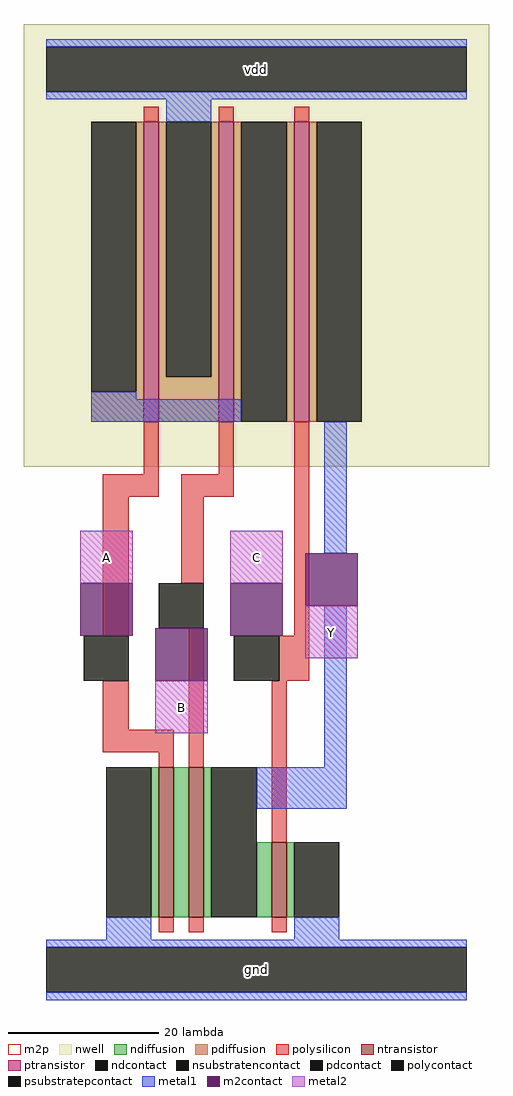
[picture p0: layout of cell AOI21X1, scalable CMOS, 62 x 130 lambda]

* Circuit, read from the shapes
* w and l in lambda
.subckt AOI21X1 A B C Y vdd gnd
M1 n1 A gnd gnd nfet w=20 l=2
M2 Y B n1 gnd nfet w=20 l=2
M3 gnd C Y gnd nfet w=10 l=2
M4 vdd A n2 vdd pfet w=40 l=2
M5 n2 B vdd vdd pfet w=40 l=2
M6 Y C n2 vdd pfet w=40 l=2
.ends

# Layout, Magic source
magic
tech scmos
magscale 1 2
<< nwell >>
rect -12 134 112 252
<< ntransistor >>
rect 24 14 28 54
rect 32 14 36 54
rect 54 14 58 34
<< ptransistor >>
rect 20 146 24 226
rect 40 146 44 226
rect 60 146 64 226
<< ndiffusion >>
rect 22 14 24 54
rect 28 14 32 54
rect 36 14 38 54
rect 50 14 54 34
rect 58 14 60 34
<< pdiffusion >>
rect 18 154 20 226
rect 6 146 20 154
rect 24 158 26 226
rect 38 158 40 226
rect 24 146 40 158
rect 44 146 46 226
rect 58 146 60 226
rect 64 146 66 226
<< ndcontact >>
rect 10 14 22 54
rect 38 14 50 54
rect 60 14 72 34
<< pdcontact >>
rect 6 154 18 226
rect 26 158 38 226
rect 46 146 58 226
rect 66 146 78 226
<< psubstratepcontact >>
rect -6 -6 106 6
<< nsubstratencontact >>
rect -6 234 106 246
<< polysilicon >>
rect 20 226 24 230
rect 40 226 44 230
rect 60 226 64 230
rect 20 132 24 146
rect 40 132 44 146
rect 9 126 24 132
rect 30 126 44 132
rect 9 89 16 126
rect 30 103 36 126
rect 9 64 16 77
rect 9 58 28 64
rect 24 54 28 58
rect 32 54 36 91
rect 60 89 64 146
rect 56 77 64 89
rect 54 34 58 77
rect 24 10 28 14
rect 32 10 36 14
rect 54 10 58 14
<< polycontact >>
rect 24 91 36 103
rect 4 77 16 89
rect 44 77 56 89
<< metal1 >>
rect -6 246 106 248
rect -6 232 106 234
rect 26 226 38 232
rect 6 152 18 154
rect 6 146 46 152
rect 68 111 74 146
rect 68 54 74 97
rect 50 43 74 54
rect 10 8 22 14
rect 60 8 72 14
rect -6 6 106 8
rect -6 -8 106 -6
<< m2contact >>
rect 3 89 17 103
rect 23 77 37 91
rect 43 89 57 103
rect 63 97 77 111
<< metal2 >>
rect 3 103 17 117
rect 43 103 57 117
rect 63 83 77 97
rect 23 63 37 77
<< m2p >>
rect 3 103 17 117
rect 43 103 57 117
rect 63 83 77 97
rect 23 63 37 77
<< labels >>
rlabel metal1 -6 -8 106 8 0 gnd
port 5 nsew ground bidirectional abutment
rlabel metal1 -6 232 106 248 0 vdd
port 4 nsew power bidirectional abutment
rlabel metal2 3 103 17 117 0 A
port 0 nsew signal input
rlabel metal2 23 63 37 77 0 B
port 1 nsew signal input
rlabel metal2 43 103 57 117 0 C
port 2 nsew signal input
rlabel metal2 63 83 77 97 0 Y
port 3 nsew signal output
<< properties >>
string FIXED_BBOX 0 0 100 240
string LEFclass CORE
string LEFsite core
string LEFsymmetry X Y
<< end >>
